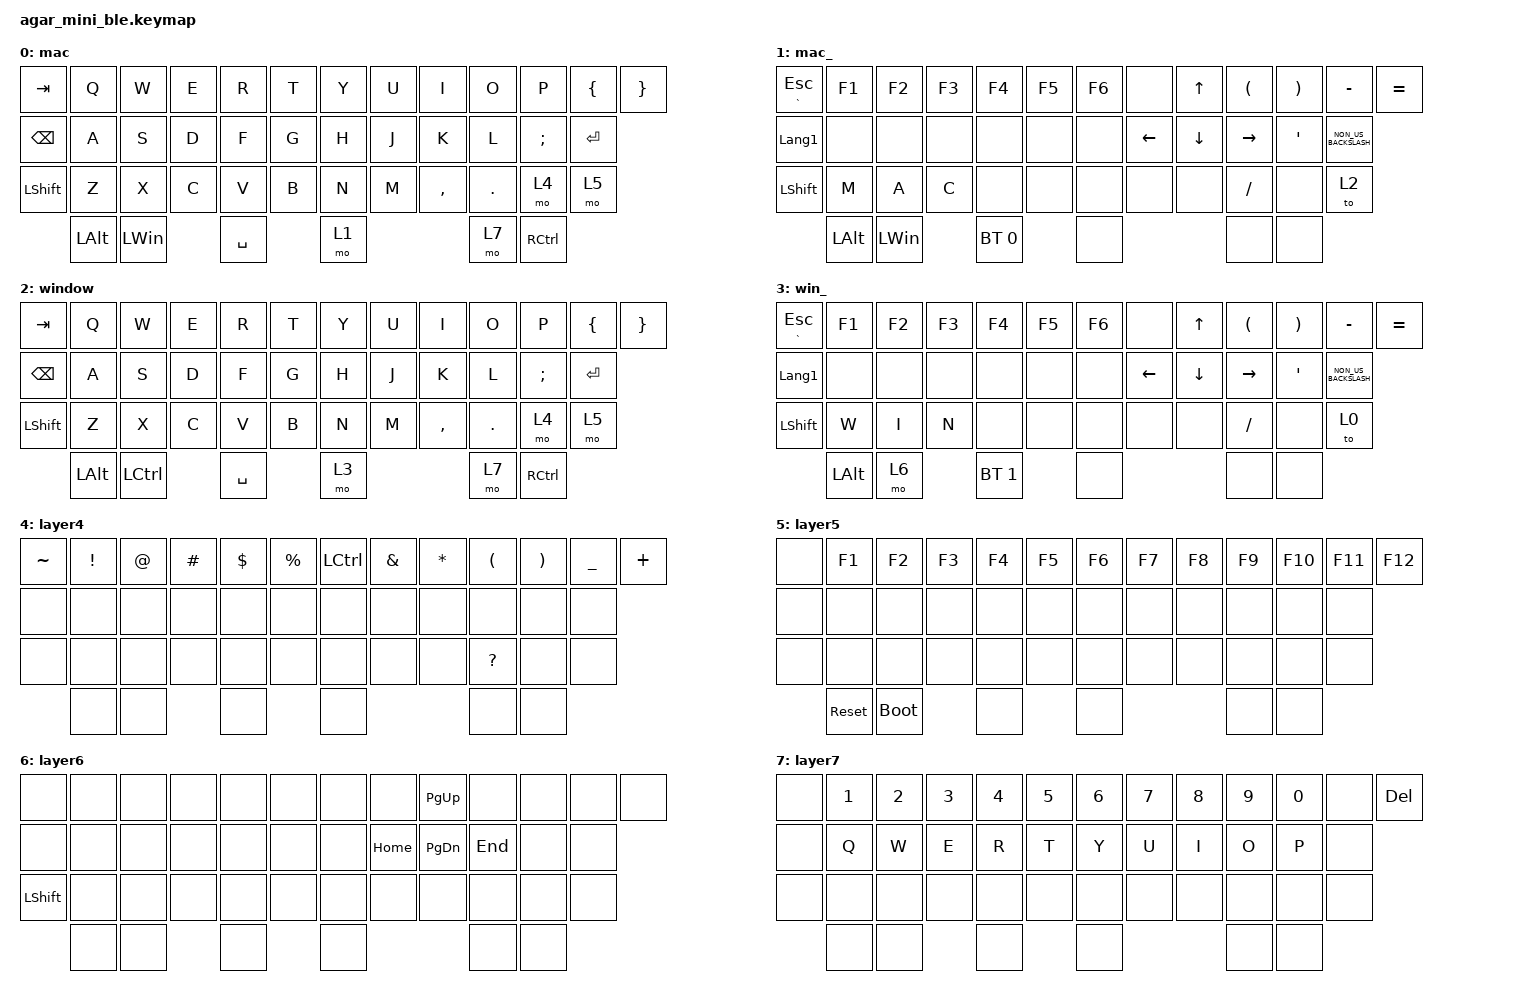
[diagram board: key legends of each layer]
/*
 * Copyright (c) 2021 The ZMK Contributors
 *
 * SPDX-License-Identifier: MIT
 */

#include "./boards/shields/klink_kbd/common.keymap"
#include <behaviors.dtsi>
#include <dt-bindings/zmk/bt.h>
#include <dt-bindings/zmk/keys.h>

/ {
    keymap {
        compatible = "zmk,keymap";

        mac {
            bindings = <
&kp TAB        &kp Q         &kp W         &kp E  &kp R      &kp T  &kp Y  &kp U  &kp I      &kp O    &kp P              &kp LEFT_BRACE  &kp RIGHT_BRACE
&kp BACKSPACE  &kp A         &kp S         &kp D  &kp F      &kp G  &kp H  &kp J  &kp K      &kp L    &kp SEMI           &kp RET
&kp LSHFT      &kp Z         &kp X         &kp C  &kp V      &kp B  &kp N  &kp M  &kp COMMA  &kp DOT  &mo 4              &mo 5
               &kp LEFT_ALT  &kp LEFT_WIN         &kp SPACE         &mo 1                    &mo 7    &kp RIGHT_CONTROL
            >;
        };

        mac_ {
            bindings = <
&mt GRAVE ESCAPE  &kp F1        &kp F2        &kp F3  &kp F4        &kp F5  &kp F6  &none           &kp UP_ARROW    &kp LEFT_PARENTHESIS  &kp RIGHT_PARENTHESIS  &kp MINUS             &kp EQUAL
&kp LANGUAGE_1    &none         &none         &none   &none         &none   &none   &kp LEFT_ARROW  &kp DOWN_ARROW  &kp RIGHT_ARROW       &kp SQT                &kp NON_US_BACKSLASH
&kp LEFT_SHIFT    &kp M         &kp A         &kp C   &none         &none   &none   &none           &none           &kp SLASH             &none                  &to 2
                  &kp LEFT_ALT  &kp LEFT_WIN          &bt BT_SEL 0          &none                                   &none                 &none
            >;
        };

        window {
            bindings = <
&kp TAB        &kp Q         &kp W             &kp E  &kp R      &kp T  &kp Y  &kp U  &kp I      &kp O    &kp P              &kp LEFT_BRACE  &kp RIGHT_BRACE
&kp BACKSPACE  &kp A         &kp S             &kp D  &kp F      &kp G  &kp H  &kp J  &kp K      &kp L    &kp SEMI           &kp RET
&kp LSHFT      &kp Z         &kp X             &kp C  &kp V      &kp B  &kp N  &kp M  &kp COMMA  &kp DOT  &mo 4              &mo 5
               &kp LEFT_ALT  &kp LEFT_CONTROL         &kp SPACE         &mo 3                    &mo 7    &kp RIGHT_CONTROL
            >;
        };

        win_ {
            bindings = <
&mt GRAVE ESCAPE  &kp F1        &kp F2  &kp F3  &kp F4        &kp F5  &kp F6  &none           &kp UP_ARROW    &kp LEFT_PARENTHESIS  &kp RIGHT_PARENTHESIS  &kp MINUS             &kp EQUAL
&kp LANGUAGE_1    &none         &none   &none   &none         &none   &none   &kp LEFT_ARROW  &kp DOWN_ARROW  &kp RIGHT_ARROW       &kp SQT                &kp NON_US_BACKSLASH
&kp LEFT_SHIFT    &kp W         &kp I   &kp N   &none         &none   &none   &none           &none           &kp SLASH             &none                  &to 0
                  &kp LEFT_ALT  &mo 6           &bt BT_SEL 1          &none                                   &none                 &none
            >;
        };

        layer4 {
            bindings = <
&kp TILDE  &kp EXCLAMATION  &kp AT_SIGN  &kp HASH  &kp DOLLAR  &kp PERCENT  &kp LCTRL  &kp AMPERSAND  &kp ASTERISK  &kp LEFT_PARENTHESIS  &kp RIGHT_PARENTHESIS  &kp UNDERSCORE  &kp PLUS
&none      &none            &none        &none     &none       &none        &none      &none          &none         &none                 &none                  &none
&none      &none            &none        &none     &none       &none        &none      &none          &none         &kp QUESTION          &none                  &none
           &none            &none                  &none                    &none                                   &none                 &none
            >;
        };

        layer5 {
            bindings = <
&none  &kp F1      &kp F2       &kp F3  &kp F4  &kp F5  &kp F6  &kp F7  &kp F8  &kp F9  &kp F10  &kp F11  &kp F12
&none  &none       &none        &none   &none   &none   &none   &none   &none   &none   &none    &none
&none  &none       &none        &none   &none   &none   &none   &none   &none   &none   &none    &none
       &sys_reset  &bootloader          &none           &none                   &none   &none
            >;
        };

        layer6 {
            bindings = <
&none           &none  &none  &none  &none  &none  &none  &none     &kp PAGE_UP    &none    &none  &none  &none
&none           &none  &none  &none  &none  &none  &none  &kp HOME  &kp PAGE_DOWN  &kp END  &none  &none
&kp LEFT_SHIFT  &none  &none  &none  &none  &none  &none  &none     &none          &none    &none  &none
                &none  &none         &none         &none                           &none    &none
            >;
        };

        layer7 {
            bindings = <
&none  &kp NUMBER_1  &kp NUMBER_2  &kp NUMBER_3  &kp NUMBER_4  &kp NUMBER_5  &kp NUMBER_6  &kp NUMBER_7  &kp NUMBER_8  &kp NUMBER_9  &kp NUMBER_0  &none  &kp DEL
&none  &kp Q         &kp W         &kp E         &kp R         &kp T         &kp Y         &kp U         &kp I         &kp O         &kp P         &none
&none  &none         &none         &none         &none         &none         &none         &none         &none         &none         &none         &none
       &none         &none                       &none                       &none                                     &none         &none
            >;
        };
    };
};
